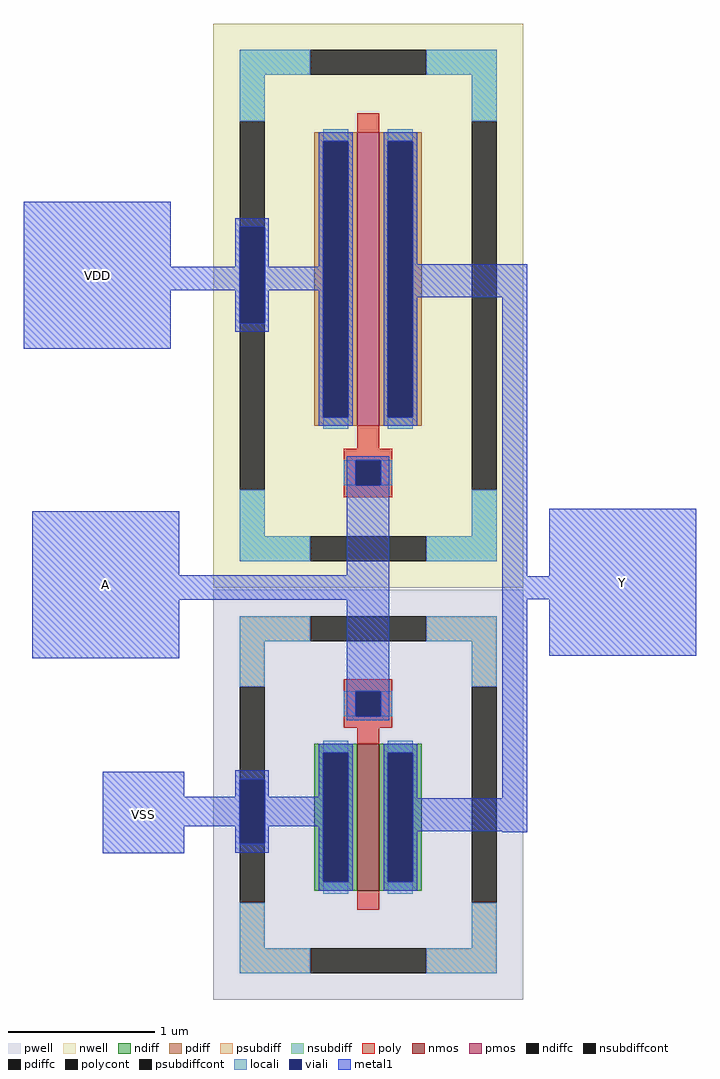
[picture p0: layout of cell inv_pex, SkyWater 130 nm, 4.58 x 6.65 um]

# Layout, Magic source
magic
tech sky130B
magscale 1 2
<< nwell >>
rect 309 466 731 1234
<< pwell >>
rect 309 -95 731 463
<< nmos >>
rect 505 53 535 253
<< pmos >>
rect 505 686 535 1086
<< ndiff >>
rect 447 241 505 253
rect 447 65 459 241
rect 493 65 505 241
rect 447 53 505 65
rect 535 241 593 253
rect 535 65 547 241
rect 581 65 593 241
rect 535 53 593 65
<< pdiff >>
rect 447 1074 505 1086
rect 447 698 459 1074
rect 493 698 505 1074
rect 447 686 505 698
rect 535 1074 593 1086
rect 535 698 547 1074
rect 581 698 593 1074
rect 535 686 593 698
<< ndiffc >>
rect 459 65 493 241
rect 547 65 581 241
<< pdiffc >>
rect 459 698 493 1074
rect 547 698 581 1074
<< psubdiff >>
rect 345 393 441 427
rect 599 393 695 427
rect 345 331 379 393
rect 661 331 695 393
rect 345 -25 379 37
rect 661 -25 695 37
rect 345 -59 441 -25
rect 599 -59 695 -25
<< nsubdiff >>
rect 345 1164 441 1198
rect 599 1164 695 1198
rect 345 1101 379 1164
rect 661 1101 695 1164
rect 345 536 379 599
rect 661 536 695 599
rect 345 502 441 536
rect 599 502 695 536
<< psubdiffcont >>
rect 441 393 599 427
rect 345 37 379 331
rect 661 37 695 331
rect 441 -59 599 -25
<< nsubdiffcont >>
rect 441 1164 599 1198
rect 345 599 379 1101
rect 661 599 695 1101
rect 441 502 599 536
<< poly >>
rect 505 1086 535 1112
rect 505 655 535 686
rect 487 639 553 655
rect 487 605 503 639
rect 537 605 553 639
rect 487 589 553 605
rect 487 325 553 341
rect 487 291 503 325
rect 537 291 553 325
rect 487 275 553 291
rect 505 253 535 275
rect 505 27 535 53
<< polycont >>
rect 503 605 537 639
rect 503 291 537 325
<< locali >>
rect 345 1164 441 1198
rect 599 1164 695 1198
rect 345 1101 379 1164
rect 661 1101 695 1164
rect 459 1074 493 1090
rect 459 682 493 698
rect 547 1074 581 1090
rect 547 682 581 698
rect 487 605 503 639
rect 537 605 553 639
rect 345 536 379 599
rect 661 536 695 599
rect 345 502 441 536
rect 599 502 695 536
rect 345 393 441 427
rect 599 393 695 427
rect 345 331 379 393
rect 661 331 695 393
rect 487 291 503 325
rect 537 291 553 325
rect 459 241 493 257
rect 459 49 493 65
rect 547 241 581 257
rect 547 49 581 65
rect 345 -25 379 37
rect 661 -25 695 37
rect 345 -59 441 -25
rect 599 -59 695 -25
<< viali >>
rect 345 826 379 957
rect 459 698 493 1074
rect 547 698 581 1074
rect 503 605 537 639
rect 503 291 537 325
rect 345 117 379 205
rect 459 65 493 241
rect 547 65 581 241
<< metal1 >>
rect 453 1074 499 1086
rect 51 903 251 991
rect 339 957 385 969
rect 339 903 345 957
rect 51 871 345 903
rect 51 791 251 871
rect 339 826 345 871
rect 379 903 385 957
rect 453 903 459 1074
rect 379 871 459 903
rect 379 826 385 871
rect 339 814 385 826
rect 453 698 459 871
rect 493 698 499 1074
rect 453 686 499 698
rect 541 1074 587 1086
rect 541 698 547 1074
rect 581 906 587 1074
rect 581 861 737 906
rect 581 698 587 861
rect 541 686 587 698
rect 491 639 549 645
rect 491 605 503 639
rect 537 605 549 639
rect 63 483 263 570
rect 491 483 549 605
rect 63 449 549 483
rect 63 370 263 449
rect 491 325 549 449
rect 491 291 503 325
rect 537 291 549 325
rect 491 285 549 291
rect 703 481 737 861
rect 767 481 967 573
rect 703 450 967 481
rect 453 241 499 253
rect 159 181 270 215
rect 339 205 385 217
rect 339 181 345 205
rect 159 141 345 181
rect 159 104 270 141
rect 339 117 345 141
rect 379 181 385 205
rect 453 181 459 241
rect 379 141 459 181
rect 379 117 385 141
rect 339 105 385 117
rect 453 65 459 141
rect 493 65 499 241
rect 453 53 499 65
rect 541 241 587 253
rect 541 65 547 241
rect 581 179 587 241
rect 703 179 737 450
rect 767 373 967 450
rect 581 134 737 179
rect 581 65 587 134
rect 703 133 737 134
rect 541 53 587 65
<< labels >>
flabel metal1 51 791 251 991 0 FreeSans 256 0 0 0 VDD
port 2 nsew
flabel metal1 63 370 263 570 0 FreeSans 256 0 0 0 A
port 0 nsew
flabel metal1 767 373 967 573 0 FreeSans 256 0 0 0 Y
port 1 nsew
flabel metal1 166 113 263 202 1 FreeSerif 160 0 0 0 VSS
port 3 n
<< end >>
